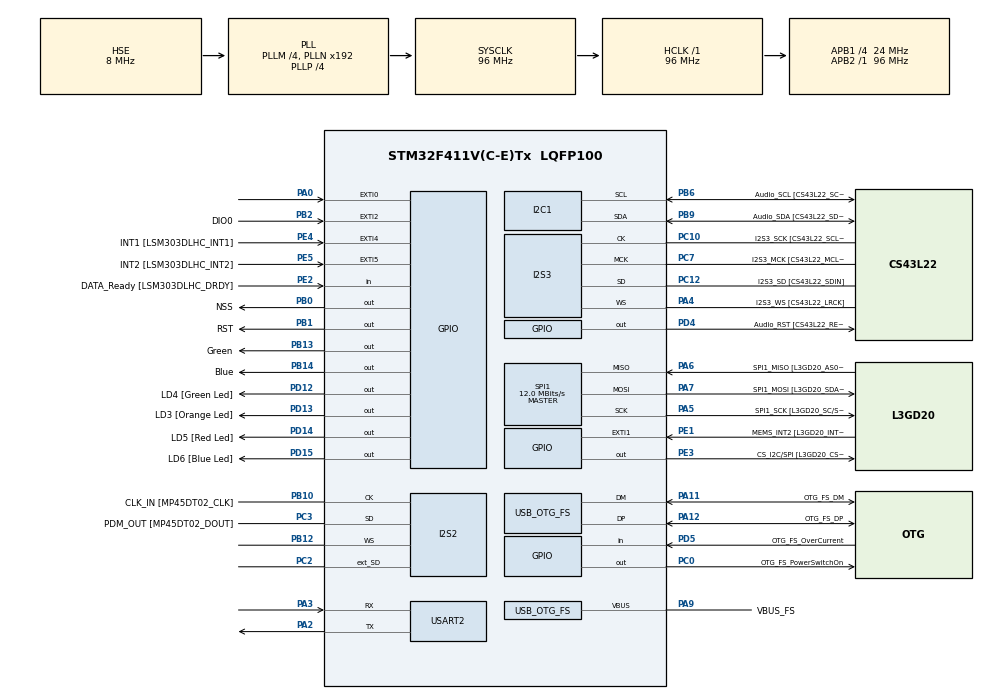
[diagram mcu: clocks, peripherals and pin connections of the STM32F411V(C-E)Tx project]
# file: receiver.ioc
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I2S2.AudioFreq=I2S_AUDIOFREQ_96K
I2S2.ErrorAudioFreq=0.15 %
I2S2.FullDuplexMode=I2S_FULLDUPLEXMODE_ENABLE
I2S2.Instance=SPI$Index
I2S2.RealAudioFreq=96.153 KHz
I2S2.VirtualMode=I2S_MODE_MASTER
I2S3.AudioFreq=I2S_AUDIOFREQ_96K
I2S3.ErrorAudioFreq=-6.99 %
I2S3.FullDuplexMode=I2S_FULLDUPLEXMODE_DISABLE
I2S3.Instance=SPI$Index
I2S3.RealAudioFreq=89.285 KHz
I2S3.VirtualMode=I2S_MODE_MASTER
Mcu.Family=STM32F4
Mcu.Name=STM32F411V(C-E)Tx
Mcu.Package=LQFP100
NVIC.OTG_FS_IRQn=true\:0\:0\:false\:false\:true\:true\:true\:true
NVIC.PriorityGroup=NVIC_PRIORITYGROUP_0
PA0-WKUP.GPIO_ModeDefaultEXTI=GPIO_MODE_EVT_RISING
PA0-WKUP.Signal=GPXTI0
PA10.GPIO_Label=OTG_FS_ID
PA10.Signal=USB_OTG_FS_ID
PA11.GPIO_Label=OTG_FS_DM
PA11.Mode=Host_Only
PA11.Signal=USB_OTG_FS_DM
PA12.GPIO_Label=OTG_FS_DP
PA12.Mode=Host_Only
PA12.Signal=USB_OTG_FS_DP
PA13.GPIO_Label=SWDIO
PA13.Mode=Serial_Wire
PA13.Signal=SYS_JTMS-SWDIO
PA14.GPIO_Label=SWCLK
PA14.Mode=Serial_Wire
PA14.Signal=SYS_JTCK-SWCLK
PA2.Mode=Asynchronous
PA2.Signal=USART2_TX
PA3.Mode=Asynchronous
PA3.Signal=USART2_RX
PA4.GPIO_Label=I2S3_WS [CS43L22_LRCK]
PA4.GPIO_Mode=GPIO_MODE_AF_PP
PA4.GPIO_PuPd=GPIO_NOPULL
PA4.GPIO_Speed=GPIO_SPEED_FREQ_LOW
PA4.Mode=Half_Duplex_Master
PA4.Signal=I2S3_WS
PA5.GPIO_Label=SPI1_SCK [L3GD20_SC/SPC]
PA5.Mode=Full_Duplex_Master
PA5.Signal=SPI1_SCK
PA6.GPIO_Label=SPI1_MISO [L3GD20_AS0/SDO]
PA6.Mode=Full_Duplex_Master
PA6.Signal=SPI1_MISO
PA7.GPIO_Label=SPI1_MOSI [L3GD20_SDA/SDI/SDO]
PA7.Mode=Full_Duplex_Master
PA7.Signal=SPI1_MOSI
PA9.GPIO_Label=VBUS_FS
PA9.Mode=Activate_VBUS
PA9.Signal=USB_OTG_FS_VBUS
PB0.GPIO_Label=NSS
PB0.PinState=GPIO_PIN_SET
PB0.Signal=GPIO_Output
PB1.GPIO_Label=RST
PB1.PinState=GPIO_PIN_SET
PB1.Signal=GPIO_Output
PB10.GPIO_Label=CLK_IN [MP45DT02_CLK]
PB10.Mode=Full_Duplex_Master
PB10.Signal=I2S2_CK
PB12.Mode=Full_Duplex_Master
PB12.Signal=I2S2_WS
PB13.GPIO_Label=Green
PB13.Signal=GPIO_Output
PB14.GPIO_Label=Blue
PB14.Signal=GPIO_Output
PB2.GPIO_Label=DIO0
PB2.Signal=GPXTI2
PB3.GPIO_Label=SWO
PB3.Signal=SYS_JTDO-SWO
PB6.GPIO_Label=Audio_SCL [CS43L22_SCL]
PB6.GPIO_Mode=GPIO_MODE_AF_OD
PB6.GPIO_Pu=GPIO_PULLUP
PB6.GPIO_PuPd=GPIO_NOPULL
PB6.GPIO_Speed=GPIO_SPEED_FREQ_LOW
PB6.Mode=I2C
PB6.Signal=I2C1_SCL
PB9.GPIO_Label=Audio_SDA [CS43L22_SDA]
PB9.GPIO_Mode=GPIO_MODE_AF_OD
PB9.GPIO_Pu=GPIO_PULLUP
PB9.GPIO_PuPd=GPIO_NOPULL
PB9.GPIO_Speed=GPIO_SPEED_FREQ_LOW
PB9.Mode=I2C
PB9.Signal=I2C1_SDA
PC0.GPIO_Label=OTG_FS_PowerSwitchOn
PC0.PinState=GPIO_PIN_SET
PC0.Signal=GPIO_Output
PC10.GPIO_Label=I2S3_SCK [CS43L22_SCLK]
PC10.GPIO_Mode=GPIO_MODE_AF_PP
PC10.GPIO_PuPd=GPIO_NOPULL
PC10.GPIO_Speed=GPIO_SPEED_FREQ_LOW
PC10.Mode=Half_Duplex_Master
PC10.Signal=I2S3_CK
PC12.GPIO_Label=I2S3_SD [CS43L22_SDIN]
PC12.GPIO_Mode=GPIO_MODE_AF_PP
PC12.GPIO_PuPd=GPIO_NOPULL
PC12.GPIO_Speed=GPIO_SPEED_FREQ_LOW
PC12.Mode=Half_Duplex_Master
PC12.Signal=I2S3_SD
PC14-OSC32_IN.GPIO_Label=PC14-OSC32_IN
PC14-OSC32_IN.Mode=LSE-External-Oscillator
PC14-OSC32_IN.Signal=RCC_OSC32_IN
PC15-OSC32_OUT.GPIO_Label=PC15-OSC32_OUT
PC15-OSC32_OUT.Mode=LSE-External-Oscillator
PC15-OSC32_OUT.Signal=RCC_OSC32_OUT
PC2.Mode=Full_Duplex_Master
PC2.Signal=I2S2_ext_SD
PC3.GPIO_Label=PDM_OUT [MP45DT02_DOUT]
PC3.Mode=Full_Duplex_Master
PC3.Signal=I2S2_SD
PC7.GPIO_Label=I2S3_MCK [CS43L22_MCLK]
PC7.GPIO_Mode=GPIO_MODE_AF_PP
PC7.GPIO_PuPd=GPIO_NOPULL
PC7.GPIO_Speed=GPIO_SPEED_FREQ_LOW
PC7.Mode=Master_Clock_Activated
PC7.Signal=I2S3_MCK
PD12.GPIO_Label=LD4 [Green Led]
PD12.GPIO_PuPd=GPIO_NOPULL
PD12.GPIO_Speed=GPIO_SPEED_FREQ_LOW
PD12.Signal=GPIO_Output
PD13.GPIO_Label=LD3 [Orange Led]
PD13.GPIO_PuPd=GPIO_NOPULL
PD13.GPIO_Speed=GPIO_SPEED_FREQ_LOW
PD13.Signal=GPIO_Output
PD14.GPIO_Label=LD5 [Red Led]
PD14.GPIO_PuPd=GPIO_NOPULL
PD14.GPIO_Speed=GPIO_SPEED_FREQ_LOW
PD14.Signal=GPIO_Output
PD15.GPIO_Label=LD6 [Blue Led]
PD15.GPIO_PuPd=GPIO_NOPULL
PD15.GPIO_Speed=GPIO_SPEED_FREQ_LOW
PD15.Signal=GPIO_Output
PD4.GPIO_Label=Audio_RST [CS43L22_RESET]
PD4.Signal=GPIO_Output
PD5.GPIO_Label=OTG_FS_OverCurrent
PD5.Signal=GPIO_Input
PE1.GPIO_Label=MEMS_INT2 [L3GD20_INT2]
PE1.GPIO_ModeDefaultEXTI=GPIO_MODE_EVT_RISING
PE1.Signal=GPXTI1
PE2.GPIO_Label=DATA_Ready [LSM303DLHC_DRDY]
PE2.Signal=GPIO_Input
PE3.GPIO_Label=CS_I2C/SPI [L3GD20_CS_I2C/SPI]
PE3.Signal=GPIO_Output
PE4.GPIO_Label=INT1 [LSM303DLHC_INT1]
PE4.GPIO_ModeDefaultEXTI=GPIO_MODE_EVT_RISING
PE4.Signal=GPXTI4
PE5.GPIO_Label=INT2 [LSM303DLHC_INT2]
PE5.GPIO_ModeDefaultEXTI=GPIO_MODE_EVT_RISING
PE5.Signal=GPXTI5
PH0\ -\ OSC_IN.GPIO_Label=PH0-OSC_IN
PH0\ -\ OSC_IN.Mode=HSE-External-Oscillator
PH0\ -\ OSC_IN.Signal=RCC_OSC_IN
PH1\ -\ OSC_OUT.GPIO_Label=PH1-OSC_OUT
PH1\ -\ OSC_OUT.Mode=HSE-External-Oscillator
PH1\ -\ OSC_OUT.Signal=RCC_OSC_OUT
ProjectManager.HeapSize=0x200
ProjectManager.StackSize=0x400
ProjectManager.TargetToolchain=STM32CubeIDE
RCC.48MHZClocksFreq_Value=48000000
RCC.AHBFreq_Value=96000000
RCC.APB1CLKDivider=RCC_HCLK_DIV4
RCC.APB1Freq_Value=24000000
RCC.APB1TimFreq_Value=48000000
RCC.APB2Freq_Value=96000000
RCC.APB2TimFreq_Value=96000000
RCC.CortexFreq_Value=96000000
RCC.HCLKFreq_Value=96000000
RCC.HSE_VALUE=8000000
RCC.HSI_VALUE=16000000
RCC.PLLI2SM=5
RCC.PLLI2SN=200
RCC.PLLM=4
RCC.PLLP=RCC_PLLP_DIV4
RCC.PLLQ=8
RCC.SYSCLKFreq_VALUE=96000000
RCC.SYSCLKSource=RCC_SYSCLKSOURCE_PLLCLK
RCC.VCOOutputFreq_Value=384000000
SPI1.BaudRatePrescaler=SPI_BAUDRATEPRESCALER_8
SPI1.CalculateBaudRate=12.0 MBits/s
SPI1.Direction=SPI_DIRECTION_2LINES
SPI1.Mode=SPI_MODE_MASTER
SPI1.VirtualType=VM_MASTER
USART2.VirtualMode=VM_ASYNC
USB_HOST.BSP.number=1
USB_HOST.USBH_HandleTypeDef=hUsbHostFS
USB_HOST.VirtualModeFS=Cdc
USB_HOST0.BSP.STBoard=false
USB_HOST0.BSP.api=Unknown
USB_HOST0.BSP.instance=PC0
USB_HOST0.BSP.ip=GPIO
USB_HOST0.BSP.mode=Output
USB_HOST0.BSP.name=Drive_VBUS_FS
USB_HOST0.BSP.solution=PC0
USB_OTG_FS.VirtualMode=Host_Only
USB_OTG_FS.phy_itface=HCD_PHY_EMBEDDED
VP_USB_HOST_VS_USB_HOST_CDC_FS.Mode=CDC_FS
board=STM32F411E-DISCO

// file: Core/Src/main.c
/* USER CODE BEGIN Header */
/**
  ******************************************************************************
  * @file           : main.c
  * @brief          : Main program body
  ******************************************************************************
  * @attention
  *
  * Copyright (c) 2022 STMicroelectronics.
  * All rights reserved.
  *
  * This software is licensed under terms that can be found in the LICENSE file
  * in the root directory of this software component.
  * If no LICENSE file comes with this software, it is provided AS-IS.
  *
  ******************************************************************************
  */
/* USER CODE END Header */
#include "main.h"
#include "usb_host.h"

/* USER CODE BEGIN Includes */
//#include "../../LoRa/Lora/LoRa.h"
#include "LoRa.h"
#include "stdio.h"
#include "string.h"
/* USER CODE END Includes */

/* USER CODE BEGIN PTD */
// LoRa myLoRa;
/* USER CODE END PTD */

I2C_HandleTypeDef hi2c1;

I2S_HandleTypeDef hi2s2;
I2S_HandleTypeDef hi2s3;

SPI_HandleTypeDef hspi1;

UART_HandleTypeDef huart2;

/* USER CODE BEGIN PV */
LoRa myLoRa;
//uint16_t LoRa_stat = 0;
uint8_t RxBuffer[64];
/* USER CODE END PV */

void SystemClock_Config(void);
void PeriphCommonClock_Config(void);
static void MX_GPIO_Init(void);
static void MX_I2C1_Init(void);
static void MX_I2S2_Init(void);
static void MX_I2S3_Init(void);
static void MX_SPI1_Init(void);
static void MX_USART2_UART_Init(void);
void MX_USB_HOST_Process(void);

int main(void)
{

  /* MCU Configuration--------------------------------------------------------*/

  /* Reset of all peripherals, Initializes the Flash interface and the Systick. */
  HAL_Init();

  /* Configure the system clock */
  SystemClock_Config();

/* Configure the peripherals common clocks */
  PeriphCommonClock_Config();

  /* Initialize all configured peripherals */
  MX_GPIO_Init();
  MX_I2C1_Init();
  MX_I2S2_Init();
  MX_I2S3_Init();
  MX_SPI1_Init();
  MX_USB_HOST_Init();
  MX_USART2_UART_Init();
  /* USER CODE BEGIN 2 */
//  HAL_ADC_Start(&hadc1);
  myLoRa = newLoRa();
  LoRa_reset(&myLoRa);
  myLoRa.CS_port         = NSS_GPIO_Port;
  myLoRa.CS_pin          = NSS_Pin;
  myLoRa.reset_port      = RST_GPIO_Port;
  myLoRa.reset_pin       = RST_Pin;
  myLoRa.DIO0_port       = DIO0_GPIO_Port;
  myLoRa.DIO0_pin        = DIO0_Pin;
  myLoRa.hSPIx           = &hspi1;

  myLoRa.frequency             = 440;             // default = 433 MHz
  myLoRa.spredingFactor        = SF_7;            // default = SF_7
  myLoRa.bandWidth             = BW_31_25KHz;       // default = BW_125KHz
  myLoRa.crcRate               = CR_4_5;          // default = CR_4_5
  myLoRa.power                 = POWER_20db;      // default = 20db
  myLoRa.overCurrentProtection = 130;             // default = 100 mA
  myLoRa.preamble              = 9;              // default = 8;

  if (LoRa_init(&myLoRa) == LORA_OK){
	  HAL_GPIO_WritePin(GPIOB, GPIO_PIN_13, GPIO_PIN_SET);
  }

  volatile uint8_t received_data[32];
  volatile uint8_t packet_size = 0;
  LoRa_startReceiving(&myLoRa);
  /* USER CODE END 2 */

  /* Infinite loop */
  /* USER CODE BEGIN WHILE */
  // receiver
  while (1)
  {
//	  uint8_t received_data[32];
	  packet_size = LoRa_receive(&myLoRa, (uint8_t *)received_data, 32);
	  if (packet_size == 32) {
		  HAL_GPIO_WritePin(GPIOB, GPIO_PIN_14, GPIO_PIN_SET);
	  }
	  else{
		  HAL_GPIO_WritePin(GPIOB, GPIO_PIN_14, GPIO_PIN_RESET);
	  }
	  if (LoRa_init(&myLoRa) == LORA_OK){
	  	  HAL_GPIO_WritePin(GPIOB, GPIO_PIN_13, GPIO_PIN_SET);
	    }
	  else{
		  HAL_GPIO_WritePin(GPIOB, GPIO_PIN_13, GPIO_PIN_RESET);
	  }
	  HAL_UART_Transmit(&huart2, (uint8_t *) received_data, 32, 100);
	  HAL_Delay(500);
    /* USER CODE END WHILE */
    MX_USB_HOST_Process();

  }
}

void SystemClock_Config(void)
{
  RCC_OscInitTypeDef RCC_OscInitStruct = {0};
  RCC_ClkInitTypeDef RCC_ClkInitStruct = {0};

  /** Configure the main internal regulator output voltage
  */
  __HAL_RCC_PWR_CLK_ENABLE();
  __HAL_PWR_VOLTAGESCALING_CONFIG(PWR_REGULATOR_VOLTAGE_SCALE1);

  /** Initializes the RCC Oscillators according to the specified parameters
  * in the RCC_OscInitTypeDef structure.
  */
  RCC_OscInitStruct.OscillatorType = RCC_OSCILLATORTYPE_HSE;
  RCC_OscInitStruct.HSEState = RCC_HSE_ON;
  RCC_OscInitStruct.PLL.PLLState = RCC_PLL_ON;
  RCC_OscInitStruct.PLL.PLLSource = RCC_PLLSOURCE_HSE;
  RCC_OscInitStruct.PLL.PLLM = 4;
  RCC_OscInitStruct.PLL.PLLN = 192;
  RCC_OscInitStruct.PLL.PLLP = RCC_PLLP_DIV4;
  RCC_OscInitStruct.PLL.PLLQ = 8;
  if (HAL_RCC_OscConfig(&RCC_OscInitStruct) != HAL_OK)
  {
    Error_Handler();
  }

  /** Initializes the CPU, AHB and APB buses clocks
  */
  RCC_ClkInitStruct.ClockType = RCC_CLOCKTYPE_HCLK|RCC_CLOCKTYPE_SYSCLK
                              |RCC_CLOCKTYPE_PCLK1|RCC_CLOCKTYPE_PCLK2;
  RCC_ClkInitStruct.SYSCLKSource = RCC_SYSCLKSOURCE_PLLCLK;
  RCC_ClkInitStruct.AHBCLKDivider = RCC_SYSCLK_DIV1;
  RCC_ClkInitStruct.APB1CLKDivider = RCC_HCLK_DIV4;
  RCC_ClkInitStruct.APB2CLKDivider = RCC_HCLK_DIV1;

  if (HAL_RCC_ClockConfig(&RCC_ClkInitStruct, FLASH_LATENCY_3) != HAL_OK)
  {
    Error_Handler();
  }
}

void PeriphCommonClock_Config(void)
{
  RCC_PeriphCLKInitTypeDef PeriphClkInitStruct = {0};

  /** Initializes the peripherals clock
  */
  PeriphClkInitStruct.PeriphClockSelection = RCC_PERIPHCLK_I2S;
  PeriphClkInitStruct.PLLI2S.PLLI2SN = 200;
  PeriphClkInitStruct.PLLI2S.PLLI2SM = 5;
  PeriphClkInitStruct.PLLI2S.PLLI2SR = 2;
  if (HAL_RCCEx_PeriphCLKConfig(&PeriphClkInitStruct) != HAL_OK)
  {
    Error_Handler();
  }
}

static void MX_I2C1_Init(void)
{

  hi2c1.Instance = I2C1;
  hi2c1.Init.ClockSpeed = 100000;
  hi2c1.Init.DutyCycle = I2C_DUTYCYCLE_2;
  hi2c1.Init.OwnAddress1 = 0;
  hi2c1.Init.AddressingMode = I2C_ADDRESSINGMODE_7BIT;
  hi2c1.Init.DualAddressMode = I2C_DUALADDRESS_DISABLE;
  hi2c1.Init.OwnAddress2 = 0;
  hi2c1.Init.GeneralCallMode = I2C_GENERALCALL_DISABLE;
  hi2c1.Init.NoStretchMode = I2C_NOSTRETCH_DISABLE;
  if (HAL_I2C_Init(&hi2c1) != HAL_OK)
  {
    Error_Handler();
  }

}

static void MX_I2S2_Init(void)
{

  hi2s2.Instance = SPI2;
  hi2s2.Init.Mode = I2S_MODE_MASTER_TX;
  hi2s2.Init.Standard = I2S_STANDARD_PHILIPS;
  hi2s2.Init.DataFormat = I2S_DATAFORMAT_16B;
  hi2s2.Init.MCLKOutput = I2S_MCLKOUTPUT_DISABLE;
  hi2s2.Init.AudioFreq = I2S_AUDIOFREQ_96K;
  hi2s2.Init.CPOL = I2S_CPOL_LOW;
  hi2s2.Init.ClockSource = I2S_CLOCK_PLL;
  hi2s2.Init.FullDuplexMode = I2S_FULLDUPLEXMODE_ENABLE;
  if (HAL_I2S_Init(&hi2s2) != HAL_OK)
  {
    Error_Handler();
  }

}

static void MX_I2S3_Init(void)
{

  hi2s3.Instance = SPI3;
  hi2s3.Init.Mode = I2S_MODE_MASTER_TX;
  hi2s3.Init.Standard = I2S_STANDARD_PHILIPS;
  hi2s3.Init.DataFormat = I2S_DATAFORMAT_16B;
  hi2s3.Init.MCLKOutput = I2S_MCLKOUTPUT_ENABLE;
  hi2s3.Init.AudioFreq = I2S_AUDIOFREQ_96K;
  hi2s3.Init.CPOL = I2S_CPOL_LOW;
  hi2s3.Init.ClockSource = I2S_CLOCK_PLL;
  hi2s3.Init.FullDuplexMode = I2S_FULLDUPLEXMODE_DISABLE;
  if (HAL_I2S_Init(&hi2s3) != HAL_OK)
  {
    Error_Handler();
  }

}

static void MX_SPI1_Init(void)
{

  /* SPI1 parameter configuration*/
  hspi1.Instance = SPI1;
  hspi1.Init.Mode = SPI_MODE_MASTER;
  hspi1.Init.Direction = SPI_DIRECTION_2LINES;
  hspi1.Init.DataSize = SPI_DATASIZE_8BIT;
  hspi1.Init.CLKPolarity = SPI_POLARITY_LOW;
  hspi1.Init.CLKPhase = SPI_PHASE_1EDGE;
  hspi1.Init.NSS = SPI_NSS_SOFT;
  hspi1.Init.BaudRatePrescaler = SPI_BAUDRATEPRESCALER_8;
  hspi1.Init.FirstBit = SPI_FIRSTBIT_MSB;
  hspi1.Init.TIMode = SPI_TIMODE_DISABLE;
  hspi1.Init.CRCCalculation = SPI_CRCCALCULATION_DISABLE;
  hspi1.Init.CRCPolynomial = 10;
  if (HAL_SPI_Init(&hspi1) != HAL_OK)
  {
    Error_Handler();
  }

}

static void MX_USART2_UART_Init(void)
{

  huart2.Instance = USART2;
  huart2.Init.BaudRate = 115200;
  huart2.Init.WordLength = UART_WORDLENGTH_8B;
  huart2.Init.StopBits = UART_STOPBITS_1;
  huart2.Init.Parity = UART_PARITY_NONE;
  huart2.Init.Mode = UART_MODE_TX_RX;
  huart2.Init.HwFlowCtl = UART_HWCONTROL_NONE;
  huart2.Init.OverSampling = UART_OVERSAMPLING_16;
  if (HAL_UART_Init(&huart2) != HAL_OK)
  {
    Error_Handler();
  }

}

static void MX_GPIO_Init(void)
{
  GPIO_InitTypeDef GPIO_InitStruct = {0};

  /* GPIO Ports Clock Enable */
  __HAL_RCC_GPIOE_CLK_ENABLE();
  __HAL_RCC_GPIOC_CLK_ENABLE();
  __HAL_RCC_GPIOH_CLK_ENABLE();
  __HAL_RCC_GPIOA_CLK_ENABLE();
  __HAL_RCC_GPIOB_CLK_ENABLE();
  __HAL_RCC_GPIOD_CLK_ENABLE();

  /*Configure GPIO pin Output Level */
  HAL_GPIO_WritePin(CS_I2C_SPI_GPIO_Port, CS_I2C_SPI_Pin, GPIO_PIN_RESET);

  /*Configure GPIO pin Output Level */
  HAL_GPIO_WritePin(OTG_FS_PowerSwitchOn_GPIO_Port, OTG_FS_PowerSwitchOn_Pin, GPIO_PIN_SET);

  /*Configure GPIO pin Output Level */
  HAL_GPIO_WritePin(GPIOB, NSS_Pin|RST_Pin, GPIO_PIN_SET);

  /*Configure GPIO pin Output Level */
  HAL_GPIO_WritePin(GPIOB, Green_Pin|Blue_Pin, GPIO_PIN_RESET);

  /*Configure GPIO pin Output Level */
  HAL_GPIO_WritePin(GPIOD, LD4_Pin|LD3_Pin|LD5_Pin|LD6_Pin
                          |Audio_RST_Pin, GPIO_PIN_RESET);

  /*Configure GPIO pin : DATA_Ready_Pin */
  GPIO_InitStruct.Pin = DATA_Ready_Pin;
  GPIO_InitStruct.Mode = GPIO_MODE_INPUT;
  GPIO_InitStruct.Pull = GPIO_NOPULL;
  HAL_GPIO_Init(DATA_Ready_GPIO_Port, &GPIO_InitStruct);

  /*Configure GPIO pin : CS_I2C_SPI_Pin */
  GPIO_InitStruct.Pin = CS_I2C_SPI_Pin;
  GPIO_InitStruct.Mode = GPIO_MODE_OUTPUT_PP;
  GPIO_InitStruct.Pull = GPIO_NOPULL;
  GPIO_InitStruct.Speed = GPIO_SPEED_FREQ_LOW;
  HAL_GPIO_Init(CS_I2C_SPI_GPIO_Port, &GPIO_InitStruct);

  /*Configure GPIO pins : INT1_Pin INT2_Pin MEMS_INT2_Pin */
  GPIO_InitStruct.Pin = INT1_Pin|INT2_Pin|MEMS_INT2_Pin;
  GPIO_InitStruct.Mode = GPIO_MODE_EVT_RISING;
  GPIO_InitStruct.Pull = GPIO_NOPULL;
  HAL_GPIO_Init(GPIOE, &GPIO_InitStruct);

  /*Configure GPIO pin : OTG_FS_PowerSwitchOn_Pin */
  GPIO_InitStruct.Pin = OTG_FS_PowerSwitchOn_Pin;
  GPIO_InitStruct.Mode = GPIO_MODE_OUTPUT_PP;
  GPIO_InitStruct.Pull = GPIO_NOPULL;
  GPIO_InitStruct.Speed = GPIO_SPEED_FREQ_LOW;
  HAL_GPIO_Init(OTG_FS_PowerSwitchOn_GPIO_Port, &GPIO_InitStruct);

  /*Configure GPIO pin : PA0 */
  GPIO_InitStruct.Pin = GPIO_PIN_0;
  GPIO_InitStruct.Mode = GPIO_MODE_EVT_RISING;
  GPIO_InitStruct.Pull = GPIO_NOPULL;
  HAL_GPIO_Init(GPIOA, &GPIO_InitStruct);

  /*Configure GPIO pins : NSS_Pin RST_Pin Green_Pin Blue_Pin */
  GPIO_InitStruct.Pin = NSS_Pin|RST_Pin|Green_Pin|Blue_Pin;
  GPIO_InitStruct.Mode = GPIO_MODE_OUTPUT_PP;
  GPIO_InitStruct.Pull = GPIO_NOPULL;
  GPIO_InitStruct.Speed = GPIO_SPEED_FREQ_LOW;
  HAL_GPIO_Init(GPIOB, &GPIO_InitStruct);

  /*Configure GPIO pin : DIO0_Pin */
  GPIO_InitStruct.Pin = DIO0_Pin;
  GPIO_InitStruct.Mode = GPIO_MODE_IT_RISING;
  GPIO_InitStruct.Pull = GPIO_NOPULL;
  HAL_GPIO_Init(DIO0_GPIO_Port, &GPIO_InitStruct);

  /*Configure GPIO pins : LD4_Pin LD3_Pin LD5_Pin LD6_Pin
                           Audio_RST_Pin */
  GPIO_InitStruct.Pin = LD4_Pin|LD3_Pin|LD5_Pin|LD6_Pin
                          |Audio_RST_Pin;
  GPIO_InitStruct.Mode = GPIO_MODE_OUTPUT_PP;
  GPIO_InitStruct.Pull = GPIO_NOPULL;
  GPIO_InitStruct.Speed = GPIO_SPEED_FREQ_LOW;
  HAL_GPIO_Init(GPIOD, &GPIO_InitStruct);

  /*Configure GPIO pin : OTG_FS_OverCurrent_Pin */
  GPIO_InitStruct.Pin = OTG_FS_OverCurrent_Pin;
  GPIO_InitStruct.Mode = GPIO_MODE_INPUT;
  GPIO_InitStruct.Pull = GPIO_NOPULL;
  HAL_GPIO_Init(OTG_FS_OverCurrent_GPIO_Port, &GPIO_InitStruct);

}

/* USER CODE BEGIN 4 */
void HAL_GPIO_EXTI_Callback(uint16_t GPIO_Pin)
{
  if (GPIO_Pin == DIO0_Pin){
	  LoRa_receive(&myLoRa, RxBuffer, 64);
//	  HAL_GPIO_WritePin(GPIOB, GPIO_PIN_15, GPIO_PIN_SET);
  }
}
/* USER CODE END 4 */

void Error_Handler(void)
{
  __disable_irq();
  while (1)
  {
  }
}
